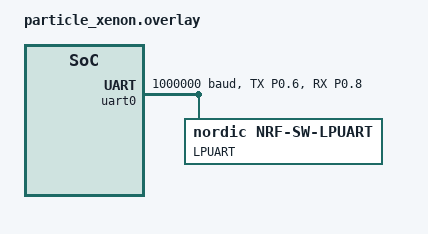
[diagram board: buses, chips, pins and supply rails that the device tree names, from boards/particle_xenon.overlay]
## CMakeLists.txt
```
# SPDX-License-Identifier: Apache-2.0

cmake_minimum_required(VERSION 3.13.1)

find_package(Zephyr REQUIRED HINTS $ENV{ZEPHYR_BASE})
project(hci_lpuart)

# NORDIC SDK APP START
target_sources(app PRIVATE
	${ZEPHYR_BASE}/samples/bluetooth/hci_uart/src/main.c
	src/antenna.c
)
```

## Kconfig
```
config BOARD_ENABLE_EXTERNAL_ANTENNA
	bool "Enable using the external antenna"
	default false

menu "Zephyr Kernel"
source "Kconfig.zephyr"
endmenu
```

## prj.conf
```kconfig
CONFIG_SERIAL=y
CONFIG_UART_INTERRUPT_DRIVEN=y
CONFIG_BT=y
CONFIG_BT_HCI_RAW=y
CONFIG_BT_HCI_RAW_H4=y
CONFIG_BT_HCI_RAW_H4_ENABLE=y
CONFIG_BT_CTLR_TX_PWR_PLUS_8=y

# LE Coded PHY
CONFIG_BT_CTLR_PHY_CODED=y
CONFIG_BT_EXT_ADV=y

# MTU/BUFFER SIZE
CONFIG_BT_CTLR_RX_BUFFERS=2

CONFIG_BT_BUF_ACL_RX_COUNT=32
CONFIG_BT_BUF_ACL_RX_SIZE=1300
CONFIG_BT_BUF_ACL_TX_COUNT=255
CONFIG_BT_BUF_ACL_TX_SIZE=251
```

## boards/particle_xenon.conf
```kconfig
# Override prj.conf defaults
CONFIG_CONSOLE=n
CONFIG_STDOUT_CONSOLE=n
CONFIG_UART_CONSOLE=n

CONFIG_GPIO=y
CONFIG_MAIN_STACK_SIZE=2048
CONFIG_SYSTEM_WORKQUEUE_STACK_SIZE=2048
CONFIG_BT_WAIT_NOP=y
CONFIG_BT_MAX_CONN=16
CONFIG_BT_TINYCRYPT_ECC=n
CONFIG_BT_CTLR_DTM_HCI=y
CONFIG_BT_CTLR_ASSERT_HANDLER=y

CONFIG_NRF_SW_LPUART=y
CONFIG_NRF_SW_LPUART_INT_DRIVEN=y

CONFIG_UART_0_ASYNC=y
CONFIG_UART_0_INTERRUPT_DRIVEN=n
CONFIG_UART_0_NRF_HW_ASYNC=y
CONFIG_UART_0_NRF_HW_ASYNC_TIMER=2
CONFIG_NRFX_TIMER2=y
```

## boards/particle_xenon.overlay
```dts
/* SPDX-License-Identifier: Apache-2.0 */

/ {
	chosen {
		zephyr,bt-c2h-uart=&lpuart;
	};
};

&pinctrl {
	uart0_default_alt: uart0_default_alt {
		group1 {
			psels = <NRF_PSEL(UART_TX, 0, 6)>,
				<NRF_PSEL(UART_RX, 0, 8)>;
		};
	};

	uart0_sleep_alt: uart0_sleep_alt {
		group1 {
			psels = <NRF_PSEL(UART_TX, 0, 6)>,
				<NRF_PSEL(UART_RX, 0, 8)>;
			low-power-enable;
		};
	};
};

&gpiote {
	interrupts = <6 NRF_DEFAULT_IRQ_PRIORITY>;
};

&uart0 {
	compatible = "nordic,nrf-uarte";
	current-speed = <1000000>;
	pinctrl-0 = <&uart0_default_alt>;
	pinctrl-1 = <&uart0_sleep_alt>;
	pinctrl-names = "default", "sleep";

	lpuart: nrf-sw-lpuart {
			compatible = "nordic,nrf-sw-lpuart";
			status = "okay";
			label = "LPUART";
			req-pin = <43>;
			rdy-pin = <42>;
	};
};

&uart1 {
        status = "disabled";
};

&i2c0 {
        status = "disabled";
};

&spi2 {
        status = "disabled";
};

&usbd {
        status = "disabled";
};
```

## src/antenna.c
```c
#include <init.h>
#include <drivers/gpio.h>

#define SKY_UFLn_GPIO_NAME      DT_GPIO_LABEL(DT_INST(0, skyworks_sky13351), vctl1_gpios)
#define SKY_UFLn_GPIO_FLAGS     DT_GPIO_FLAGS(DT_INST(0, skyworks_sky13351), vctl1_gpios)
#define SKY_UFLn_GPIO_PIN       DT_GPIO_PIN(DT_INST(0, skyworks_sky13351), vctl1_gpios)
#define SKY_PCBn_GPIO_NAME      DT_GPIO_LABEL(DT_INST(0, skyworks_sky13351), vctl2_gpios)
#define SKY_PCBn_GPIO_FLAGS     DT_GPIO_FLAGS(DT_INST(0, skyworks_sky13351), vctl2_gpios)
#define SKY_PCBn_GPIO_PIN       DT_GPIO_PIN(DT_INST(0, skyworks_sky13351), vctl2_gpios)

static inline void external_antenna(bool on)
{
        const struct device *ufl_gpio_dev, *pcb_gpio_dev;

        ufl_gpio_dev = device_get_binding(SKY_UFLn_GPIO_NAME);
        if (!ufl_gpio_dev) {
                return;
        }

        pcb_gpio_dev = device_get_binding(SKY_PCBn_GPIO_NAME);
        if (!pcb_gpio_dev) {
                return;
        }

        gpio_pin_configure(ufl_gpio_dev, SKY_UFLn_GPIO_PIN,
                           SKY_UFLn_GPIO_FLAGS
                           | (on
                              ? GPIO_OUTPUT_ACTIVE
                              : GPIO_OUTPUT_INACTIVE));
        gpio_pin_configure(pcb_gpio_dev, SKY_PCBn_GPIO_PIN,
                           SKY_PCBn_GPIO_FLAGS
                           | (on
                              ? GPIO_OUTPUT_INACTIVE
                              : GPIO_OUTPUT_ACTIVE));
}

static int antenna_init(const struct device *dev)
{
        ARG_UNUSED(dev);

        /*
         * On power-up the SKY13351 is left uncontrolled, so neither
         * PCB nor external antenna is selected.  Select the PCB
         * antenna.
         */
        external_antenna(true);

        return 0;
}

SYS_INIT(antenna_init, APPLICATION, 99);
```
